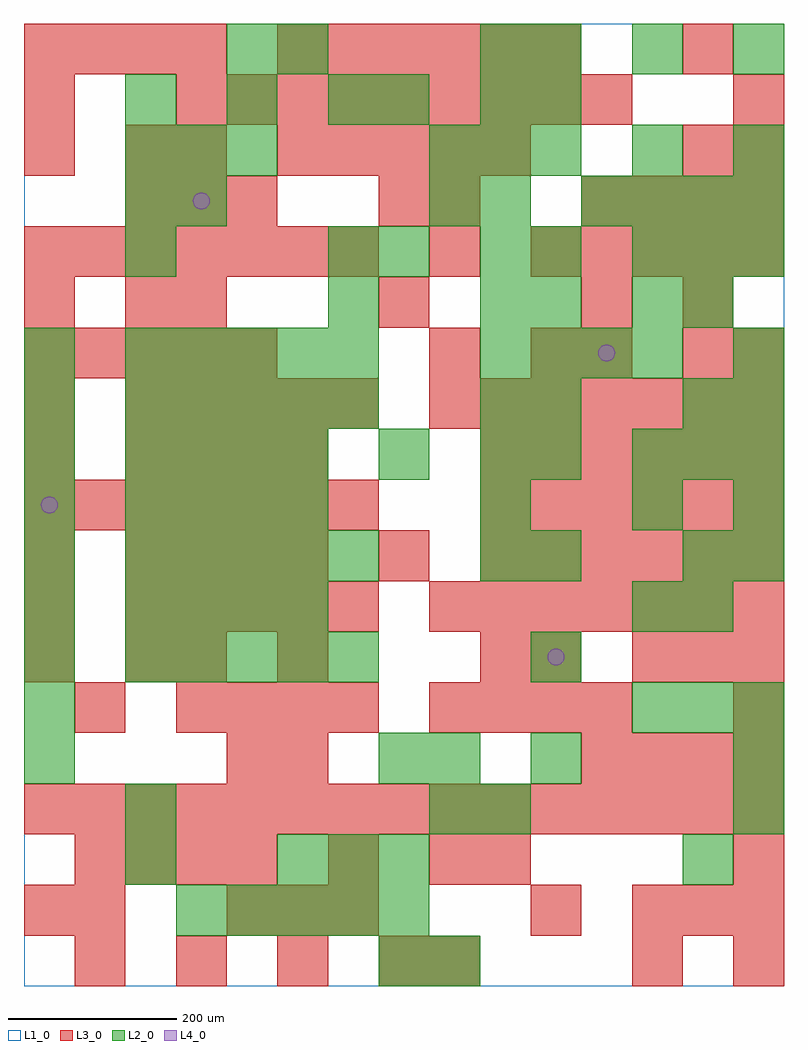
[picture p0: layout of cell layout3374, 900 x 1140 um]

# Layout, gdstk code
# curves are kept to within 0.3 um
import gdstk
lib = gdstk.Library(unit=1e-6, precision=1e-09)
def R(c, l, rs):  # rectangles x0, y0, x1, y1
    for r in rs: c.add(gdstk.rectangle(r[:2], r[2:], *l))
def A(c, l, x, y, w, h, nx, ny, dx, dy):  # array of equal rectangles
    R(c, l, [(x+i*dx, y+j*dy, x+i*dx+w, y+j*dy+h) for i in range(nx) for j in range(ny)])
def P(c, l, *ps):  # polygons
    for p in ps: c.add(gdstk.Polygon(p, *l))
L1_0 = (1, 0)
L2_0 = (2, 0)
L3_0 = (3, 0)
L4_0 = (4, 0)

layout3374 = lib.new_cell('layout3374')
R(layout3374, L1_0, [(0,0,900,1140)])
A(layout3374, L2_0, 180, 60, 60, 60, 5, 1, 60, 0)
A(layout3374, L2_0, 300, 120, 60, 60, 3, 1, 60, 0)
A(layout3374, L2_0, 0, 240, 60, 60, 1, 9, 0, 60)
A(layout3374, L2_0, 600, 240, 60, 60, 1, 4, 0, 120)
A(layout3374, L2_0, 720, 300, 60, 60, 3, 2, 60, 300)
A(layout3374, L2_0, 120, 360, 60, 60, 5, 2, 60, 120)
A(layout3374, L2_0, 120, 420, 60, 60, 4, 2, 60, 120)
A(layout3374, L2_0, 540, 480, 60, 60, 1, 4, 0, 60)
A(layout3374, L2_0, 120, 600, 60, 60, 4, 1, 60, 0)
A(layout3374, L2_0, 120, 660, 60, 60, 5, 2, 60, 60)
A(layout3374, L2_0, 540, 720, 60, 60, 4, 1, 60, 0)
A(layout3374, L2_0, 540, 780, 60, 60, 1, 3, 0, 60)
A(layout3374, L2_0, 720, 840, 60, 60, 3, 1, 60, 0)
A(layout3374, L2_0, 660, 900, 60, 60, 4, 1, 60, 0)
A(layout3374, L2_0, 120, 960, 60, 60, 3, 1, 60, 0)
A(layout3374, L2_0, 480, 960, 60, 60, 3, 1, 60, 0)
A(layout3374, L2_0, 120, 1020, 60, 60, 3, 1, 120, 0)
A(layout3374, L2_0, 600, 1080, 60, 60, 3, 1, 120, 0)
R(layout3374, L2_0, [(420,0,480,60), (480,0,540,60), (120,120,180,180), (780,120,840,180), (120,180,180,240), (480,180,540,240), (540,180,600,240), (840,180,900,240), (420,240,480,300), (480,240,540,300), (840,240,900,300), (720,420,780,480), (780,420,840,480), (780,480,840,540), (840,480,900,540), (720,540,780,600), (840,540,900,600), (420,600,480,660), (600,660,660,720), (780,660,840,720), (840,660,900,720), (840,720,900,780), (360,780,420,840), (600,780,660,840), (720,780,780,840), (780,780,840,840), (120,840,180,900), (360,840,420,900), (420,840,480,900), (600,840,660,900), (120,900,180,960), (180,900,240,960), (480,900,540,960), (720,960,780,1020), (840,960,900,1020), (420,1020,480,1080), (540,1020,600,1080), (600,1020,660,1080), (240,1080,300,1140), (300,1080,360,1140), (540,1080,600,1140)])
A(layout3374, L3_0, 60, 0, 60, 60, 4, 1, 120, 0)
A(layout3374, L3_0, 240, 60, 60, 60, 3, 1, 60, 0)
A(layout3374, L3_0, 720, 60, 60, 60, 3, 2, 60, 300)
A(layout3374, L3_0, 60, 120, 60, 60, 4, 1, 60, 0)
A(layout3374, L3_0, 0, 180, 60, 60, 15, 1, 60, 0)
A(layout3374, L3_0, 660, 240, 60, 60, 4, 2, 60, 660)
A(layout3374, L3_0, 180, 300, 60, 60, 4, 1, 60, 0)
A(layout3374, L3_0, 480, 300, 60, 60, 4, 1, 60, 0)
A(layout3374, L3_0, 0, 360, 60, 60, 1, 3, 0, 60)
A(layout3374, L3_0, 120, 420, 60, 60, 5, 2, 60, 240)
A(layout3374, L3_0, 480, 420, 60, 60, 7, 2, 60, 240)
A(layout3374, L3_0, 120, 480, 60, 60, 4, 2, 60, 120)
A(layout3374, L3_0, 540, 480, 60, 60, 6, 3, 60, 60)
A(layout3374, L3_0, 0, 540, 60, 60, 7, 2, 60, 300)
A(layout3374, L3_0, 0, 720, 60, 60, 5, 1, 60, 0)
A(layout3374, L3_0, 180, 780, 60, 60, 3, 1, 240, 0)
A(layout3374, L3_0, 600, 840, 60, 60, 5, 1, 60, 0)
A(layout3374, L3_0, 120, 900, 60, 60, 3, 1, 60, 0)
A(layout3374, L3_0, 300, 960, 60, 60, 5, 1, 60, 0)
A(layout3374, L3_0, 180, 1020, 60, 60, 9, 1, 60, 0)
A(layout3374, L3_0, 0, 1080, 60, 60, 4, 1, 60, 0)
A(layout3374, L3_0, 300, 1080, 60, 60, 6, 1, 60, 0)
R(layout3374, L3_0, [(480,0,540,60), (720,0,780,60), (840,0,900,60), (0,60,60,120), (60,60,120,120), (600,60,660,120), (360,120,420,180), (480,120,540,180), (540,120,600,180), (840,120,900,180), (240,240,300,300), (300,240,360,300), (60,300,120,360), (840,300,900,360), (120,360,180,420), (180,360,240,420), (300,360,360,420), (540,360,600,420), (600,360,660,420), (420,480,480,540), (0,600,60,660), (0,660,60,720), (480,720,540,780), (600,720,660,780), (660,720,720,780), (780,720,840,780), (840,720,900,780), (0,780,60,840), (120,780,180,840), (780,780,840,840), (480,840,540,900), (420,900,480,960), (480,900,540,960), (0,960,60,1020), (120,960,180,1020), (180,960,240,1020), (780,960,840,1020), (840,960,900,1020), (0,1020,60,1080), (840,1020,900,1080), (780,1080,840,1140)])
P(layout3374, L4_0, [(40,570),(39.239,573.827),(37.071,577.071),(33.827,579.239),(30,580),(26.173,579.239),(22.929,577.071),(20.761,573.827),(20,570),(20.761,566.173),(22.929,562.929),(26.173,560.761),(30,560),(33.827,560.761),(37.071,562.929),(39.239,566.173)],
  [(220,930),(219.239,933.827),(217.071,937.071),(213.827,939.239),(210,940),(206.173,939.239),(202.929,937.071),(200.761,933.827),(200,930),(200.761,926.173),(202.929,922.929),(206.173,920.761),(210,920),(213.827,920.761),(217.071,922.929),(219.239,926.173)],
  [(640,390),(639.239,393.827),(637.071,397.071),(633.827,399.239),(630,400),(626.173,399.239),(622.929,397.071),(620.761,393.827),(620,390),(620.761,386.173),(622.929,382.929),(626.173,380.761),(630,380),(633.827,380.761),(637.071,382.929),(639.239,386.173)],
  [(700,750),(699.239,753.827),(697.071,757.071),(693.827,759.239),(690,760),(686.173,759.239),(682.929,757.071),(680.761,753.827),(680,750),(680.761,746.173),(682.929,742.929),(686.173,740.761),(690,740),(693.827,740.761),(697.071,742.929),(699.239,746.173)])

lib.write_gds('layout3374.gds')
